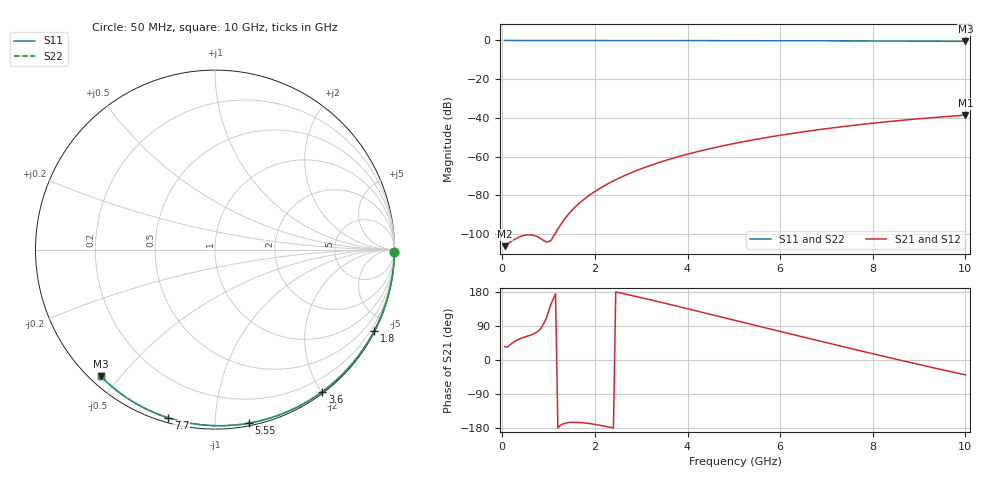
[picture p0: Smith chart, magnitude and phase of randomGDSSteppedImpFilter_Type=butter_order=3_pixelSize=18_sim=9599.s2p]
! freq	dB(S11)	phase(S11)	dB(S12)	phase(S12)
!  dB(S21)	phase(S21)	dB(S22)	phase(S22)
!S-par simulation data
#  GHz  S  DB  R 50
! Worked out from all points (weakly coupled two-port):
!   200 points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, 50 MHz to 10 GHz, reference 50 ohm
!   highest |S21| = -38.62 dB at 10 GHz (marker M1); lowest = -106.3 dB at 50 MHz (marker M2)
!   lowest |S11| = -0.4 dB at 10 GHz (marker M3), VSWR 39.17, Z = 1.53 - j22.2 ohm
!   |S11| at or under -10 dB: nowhere
!   |S22| runs from -0.4 to 0.0 dB; largest |S21 - S12| = 0
!   S11 on the Smith chart (normalised r, x): 50 MHz: open; 1.8 GHz: 0.04, -4.16; 3.6 GHz: 0.02, -2.01; 5.55 GHz: 0.02, -1.21; 7.7 GHz: 0.02, -0.76; 10 GHz: 0.03, -0.44
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0.05  -0.00 -0.8  -106.34 35.3  -106.34 35.3  -0.00 -0.8
0.9  -0.02 -13.6  -103.58 97.4  -103.58 97.4  -0.02 -13.6
1.75  -0.03 -26.3  -82.36 -165.8  -82.36 -165.8  -0.03 -26.3
1.8  -0.03 -27.0  -81.42 -166.5  -81.42 -166.5  -0.03 -27.0
1.85  -0.04 -27.8  -80.53 -167.3  -80.53 -167.3  -0.04 -27.8
1.9  -0.04 -28.5  -79.67 -168.1  -79.67 -168.1  -0.04 -28.5
2.05  -0.04 -30.7  -77.28 -171.1  -77.28 -171.1  -0.04 -30.7
2.25  -0.04 -33.6  -74.47 -175.6  -74.47 -175.6  -0.04 -33.6
2.45  -0.05 -36.5  -71.98 179.5  -71.98 179.5  -0.05 -36.5
2.65  -0.05 -39.4  -69.75 174.2  -69.75 174.2  -0.05 -39.4
3  -0.06 -44.4  -66.33 164.6  -66.33 164.6  -0.06 -44.4
3.4  -0.07 -50.1  -62.98 153.1  -62.98 153.1  -0.07 -50.1
3.6  -0.07 -52.9  -61.48 147.2  -61.48 147.2  -0.07 -52.9
4.3  -0.09 -62.5  -56.97 126.3  -56.97 126.3  -0.09 -62.5
5.05  -0.11 -72.5  -53.05 103.8  -53.05 103.8  -0.11 -72.5
5.55  -0.13 -79.0  -50.83 88.8  -50.83 88.8  -0.13 -79.0
6.1  -0.15 -86.0  -48.65 72.4  -48.65 72.4  -0.15 -86.0
6.7  -0.18 -93.4  -46.55 54.6  -46.55 54.6  -0.18 -93.4
7.7  -0.24 -105.5  -43.56 25.2  -43.56 25.2  -0.24 -105.5
8.35  -0.29 -113.1  -41.92 6.4  -41.92 6.4  -0.29 -113.1
9.15  -0.36 -122.3  -40.17 -16.2  -40.17 -16.2  -0.36 -122.3
10  -0.44 -132.0  -38.62 -39.2  -38.62 -39.2  -0.44 -132.0
